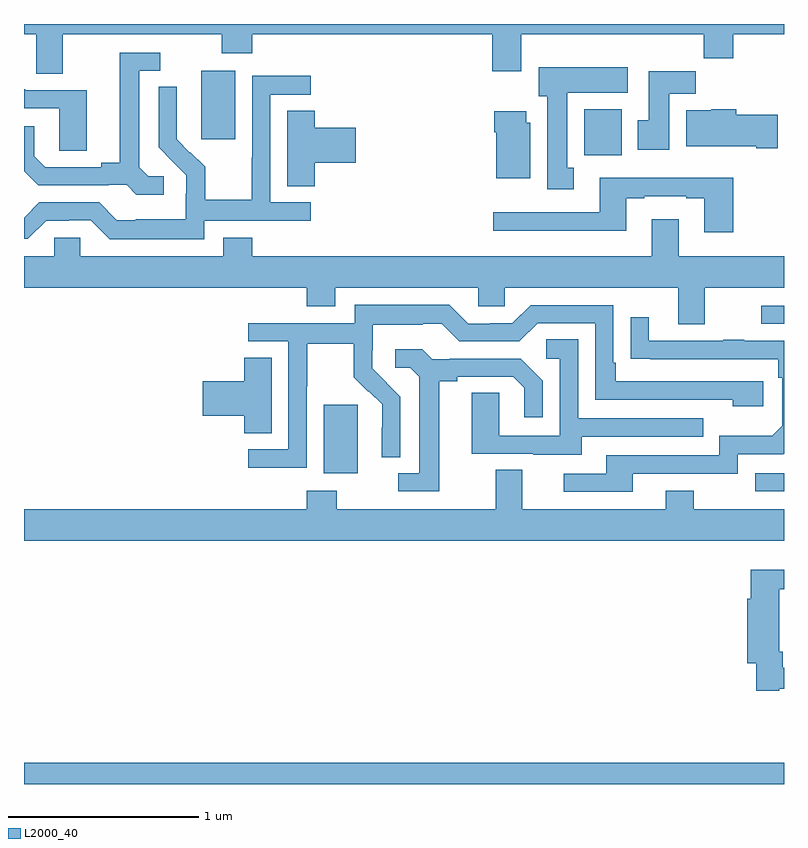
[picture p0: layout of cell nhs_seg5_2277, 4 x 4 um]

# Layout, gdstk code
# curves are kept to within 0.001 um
import gdstk
lib = gdstk.Library(unit=1e-6, precision=1e-09)
def R(c, l, rs):  # rectangles x0, y0, x1, y1
    for r in rs: c.add(gdstk.rectangle(r[:2], r[2:], *l))
def P(c, l, *ps):  # polygons
    for p in ps: c.add(gdstk.Polygon(p, *l))
L2000_40 = (2000, 40)

nhs_seg5_2277 = lib.new_cell('nhs_seg5_2277')
R(nhs_seg5_2277, L2000_40, [(243,868.799,247,868.912), (246.849,870.339,247,870.435), (244.577,870.434,244.756,870.795), (246.879,871.221,247,871.317), (245.948,872.108,246.145,872.35), (243.932,872.193,244.111,872.554)])
P(nhs_seg5_2277, L2000_40, [(243.205,872.744),(244.042,872.744),(244.042,872.645),(244.202,872.645),(244.202,872.744),(245.465,872.744),(245.465,872.55),(245.617,872.55),(245.617,872.744),(246.577,872.744),(246.577,872.62),(246.734,872.62),(246.734,872.744),(247,872.744),(247,872.799),(243,872.799),(243,872.744),(243.065,872.744),(243.065,872.536),(243.205,872.536)],
  [(243.736,871.998),(243.654,871.998),(243.607,872.045),(243.607,872.553),(243.718,872.553),(243.718,872.649),(243.503,872.649),(243.503,872.069),(243.407,872.069),(243.407,872.046),(243.112,872.046),(243.055,872.103),(243.055,872.26),(243,872.26),(243,872.024),(243.074,871.95),(243.446,871.95),(243.446,871.953),(243.54,871.953),(243.592,871.901),(243.736,871.901)],
  [(245.893,872.042),(245.86,872.042),(245.86,872.438),(246.178,872.438),(246.178,872.572),(245.708,872.572),(245.708,872.418),(245.753,872.418),(245.753,871.929),(245.893,871.929)],
  [(246.397,872.432),(246.536,872.432),(246.536,872.551),(246.287,872.551),(246.287,872.292),(246.23,872.292),(246.23,872.136),(246.397,872.136)],
  [(243.948,871.764),(244.51,871.764),(244.51,871.86),(244.296,871.86),(244.296,872.427),(244.51,872.427),(244.51,872.526),(244.2,872.526),(244.2,872.096),(244.198,872.096),(244.198,871.873),(243.953,871.873),(243.953,872.047),(243.876,872.124),(243.873,872.121),(243.803,872.192),(243.804,872.468),(243.708,872.468),(243.708,872.15),(243.854,872.002),(243.854,871.905),(243.852,871.905),(243.852,871.771),(243.589,871.771),(243.589,871.767),(243.489,871.767),(243.396,871.86),(243.081,871.86),(243,871.779),(243,871.668),(243.021,871.668),(243.117,871.764),(243.236,871.764),(243.236,871.767),(243.351,871.767),(243.451,871.667),(243.948,871.667)],
  [(243.331,872.451),(243.007,872.451),(243.007,872.455),(243,872.455),(243,872.355),(243.186,872.355),(243.186,872.131),(243.331,872.131)],
  [(246.967,872.322),(246.749,872.322),(246.749,872.35),(246.618,872.35),(246.618,872.344),(246.485,872.344),(246.485,872.156),(246.854,872.156),(246.854,872.144),(246.967,872.144)],
  [(244.529,872.069),(244.747,872.069),(244.747,872.252),(244.529,872.252),(244.529,872.342),(244.385,872.342),(244.385,871.945),(244.529,871.945)],
  [(245.665,872.28),(245.644,872.28),(245.644,872.341),(245.474,872.341),(245.474,872.228),(245.486,872.228),(245.486,871.988),(245.665,871.988)],
  [(246.734,871.99),(246.029,871.99),(246.029,871.809),(245.469,871.809),(245.469,871.712),(246.169,871.712),(246.169,871.881),(246.265,871.881),(246.265,871.893),(246.485,871.893),(246.485,871.881),(246.581,871.881),(246.581,871.704),(246.734,871.704)],
  [(246.583,871.412),(247,871.412),(247,871.576),(246.445,871.576),(246.445,871.771),(246.305,871.771),(246.305,871.576),(244.202,871.576),(244.202,871.675),(244.049,871.675),(244.049,871.576),(243.297,871.576),(243.297,871.674),(243.159,871.674),(243.159,871.576),(243,871.576),(243,871.412),(244.487,871.412),(244.487,871.313),(244.639,871.313),(244.639,871.412),(245.391,871.412),(245.391,871.314),(245.529,871.314),(245.529,871.412),(246.443,871.412),(246.443,871.218),(246.583,871.218)],
  [(244.488,870.892),(244.491,870.892),(244.491,871.116),(244.735,871.116),(244.735,870.941),(244.812,870.864),(244.815,870.867),(244.886,870.797),(244.886,870.674),(244.884,870.674),(244.884,870.52),(244.98,870.52),(244.98,870.838),(244.834,870.986),(244.834,871.083),(244.836,871.083),(244.836,871.217),(245.099,871.217),(245.099,871.221),(245.199,871.221),(245.292,871.128),(245.607,871.128),(245.703,871.224),(246.006,871.224),(246.006,870.822),(246.731,870.822),(246.731,870.788),(246.892,870.788),(246.892,870.918),(246.115,870.918),(246.115,871.015),(246.102,871.015),(246.102,871.32),(245.667,871.32),(245.571,871.224),(245.453,871.224),(245.453,871.221),(245.337,871.221),(245.237,871.321),(244.74,871.321),(244.74,871.224),(244.179,871.224),(244.179,871.128),(244.392,871.128),(244.392,870.561),(244.179,870.561),(244.179,870.463),(244.488,870.463)],
  [(246.205,870.432),(246.756,870.432),(246.756,870.534),(246.996,870.534),(247,870.538),(247,871.131),(246.791,871.131),(246.791,871.136),(246.679,871.136),(246.679,871.131),(246.289,871.131),(246.289,871.255),(246.193,871.255),(246.193,871.036),(246.97,871.035),(246.97,870.938),(246.99,870.938),(246.99,870.684),(246.937,870.631),(246.66,870.631),(246.66,870.528),(246.065,870.528),(246.065,870.432),(245.841,870.432),(245.841,870.336),(246.205,870.336)],
  [(245.935,870.627),(246.575,870.627),(246.575,870.723),(245.916,870.723),(245.916,871.139),(245.748,871.139),(245.748,871.038),(245.82,871.038),(245.82,870.633),(245.502,870.633),(245.502,870.857),(245.357,870.857),(245.357,870.537),(245.681,870.537),(245.681,870.533),(245.935,870.533)],
  [(245.185,870.92),(245.281,870.92),(245.281,870.942),(245.576,870.942),(245.633,870.885),(245.633,870.729),(245.73,870.729),(245.73,870.922),(245.614,871.038),(245.242,871.038),(245.242,871.035),(245.148,871.035),(245.096,871.087),(244.953,871.087),(244.953,870.99),(245.034,870.99),(245.081,870.943),(245.081,870.435),(244.971,870.435),(244.971,870.339),(245.185,870.339)],
  [(244.303,871.043),(244.16,871.043),(244.16,870.92),(243.942,870.92),(243.942,870.737),(244.16,870.737),(244.16,870.646),(244.303,870.646)],
  [(247,870.244),(246.525,870.244),(246.525,870.343),(246.377,870.343),(246.377,870.244),(245.623,870.244),(245.623,870.452),(245.483,870.452),(245.483,870.244),(244.647,870.244),(244.647,870.343),(244.487,870.343),(244.487,870.244),(243,870.244),(243,870.08),(247,870.08)],
  [(246.976,869.301),(247,869.301),(247,869.41),(246.994,869.41),(246.994,869.494),(246.976,869.494),(246.976,869.824),(247,869.824),(247,869.926),(246.824,869.926),(246.824,869.775),(246.806,869.775),(246.806,869.435),(246.855,869.435),(246.855,869.289),(246.976,869.289)])

lib.write_gds('nhs_seg5_2277.gds')
